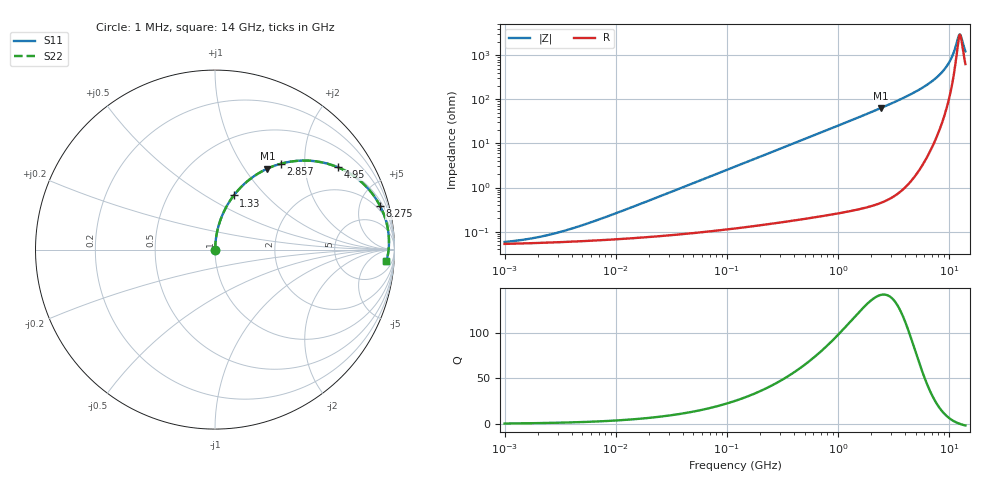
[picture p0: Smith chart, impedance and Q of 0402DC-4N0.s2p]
# MHz  S  MA  R  50
!Freq  MagS11  AngS11  MagS21  AngS21  MagS12  AngS12  MagS22  AngS22
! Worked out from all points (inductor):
!   801 points, 1 MHz to 14 GHz, reference 50 ohm
!   read as one part in series: L = 4 nH near 7.715 MHz
!   highest Q = 142 at 2.446 GHz (marker M1), where L = 4.16 nH
!   self-resonance near 12.53 GHz
!   S11 on the Smith chart (normalised r, x): 1 MHz: 1.00, +0.00; 1.33 GHz: 1.01, +0.68; 2.857 GHz: 1.01, +1.52; 4.95 GHz: 1.04, +2.95; 8.275 GHz: 1.44, +7.39; 14 GHz: 14, -21
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1  0.0005827 25.5  0.9995 -0.0  0.9995 -0.0  0.0005827 25.5
2.200292  0.0007851 44.7  0.9994 -0.0  0.9994 -0.0  0.0007851 44.7
4.958368  0.001385 64.0  0.9994 -0.1  0.9994 -0.1  0.001385 64.0
24.29341  0.006151 82.3  0.9992 -0.3  0.9992 -0.3  0.006151 82.3
119.025  0.02989 86.0  0.9984 -1.7  0.9984 -1.7  0.02989 86.0
288.1583  0.07218 84.6  0.9958 -4.1  0.9958 -4.1  0.07218 84.6
583.1601  0.145 80.9  0.9874 -8.3  0.9874 -8.3  0.145 80.9
1329.95  0.3195 70.9  0.9448 -18.6  0.9448 -18.6  0.3195 70.9
2446.128  0.537 57.1  0.8398 -32.5  0.8398 -32.5  0.537 57.1
2857.179  0.602 52.6  0.7942 -37.0  0.7942 -37.0  0.602 52.6
3806.061  0.7227 43.2  0.6851 -46.3  0.6851 -46.3  0.7227 43.2
4950.35  0.8233 33.9  0.5575 -55.4  0.5575 -55.4  0.8233 33.9
6594.383  0.9084 23.3  0.3951 -65.2  0.3951 -65.2  0.9084 23.3
8274.98  0.9513 14.9  0.257 -71.7  0.257 -71.7  0.9513 14.9
9325.195  0.9643 10.5  0.1833 -73.6  0.1833 -73.6  0.9643 10.5
10260.55  0.9698 7.1  0.1249 -72.5  0.1249 -72.5  0.9698 7.1
10892.21  0.971 4.9  0.08944 -68.6  0.08944 -68.6  0.971 4.9
11842.4  0.9699 2.0  0.04525 -47.3  0.04525 -47.3  0.9699 2.0
12274.59  0.9683 0.7  0.03391 -20.6  0.03391 -20.6  0.9683 0.7
12571.45  0.967 -0.1  0.03308 3.7  0.03308 3.7  0.967 -0.1
12875.48  0.9654 -1.0  0.03831 24.9  0.03831 24.9  0.9654 -1.0
14000  0.9576 -3.8  0.07803 55.2  0.07803 55.2  0.9576 -3.8
